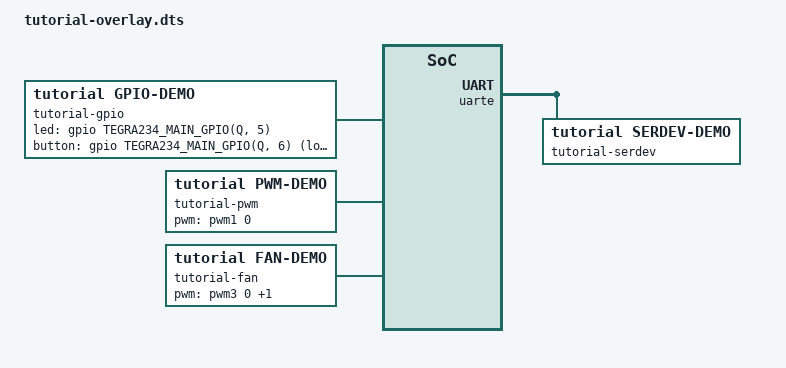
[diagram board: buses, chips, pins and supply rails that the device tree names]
// SPDX-License-Identifier: GPL-2.0
/*
 * jetson-drivers 教程覆盖层（Jetson Orin Nano 开发板 P3768 + P3767-0005）
 *
 * 1. 40 针排针的引脚复用：SPI1（19/21/23/24/26 脚）、PWM（15/32/33 脚）、
 *    GPIO（29 脚输出、31 脚输入）
 * 2. 第 3、4、6、7 章驱动要绑定的设备节点
 *
 * 编译：cpp ... | dtc -@ -I dts -O dtb -o tutorial-overlay.dtbo -   （见 build.sh）
 */
/dts-v1/;
/plugin/;

#include <dt-bindings/gpio/gpio.h>
#include <dt-bindings/gpio/tegra234-gpio.h>
#include <dt-bindings/pinctrl/pinctrl-tegra.h>

/ {
	overlay-name = "jetson-drivers tutorial";
	jetson-header-name = "Jetson 40pin Header";
	compatible = "nvidia,p3768-0000+p3767-0000", "nvidia,p3768-0000+p3767-0001",
		     "nvidia,p3768-0000+p3767-0003", "nvidia,p3768-0000+p3767-0004",
		     "nvidia,p3768-0000+p3767-0005", "nvidia,p3768-0000+p3767-0000-super",
		     "nvidia,p3768-0000+p3767-0001-super", "nvidia,p3768-0000+p3767-0003-super",
		     "nvidia,p3768-0000+p3767-0004-super", "nvidia,p3768-0000+p3767-0005-super";

	/* 1. 引脚复用 */
	fragment@0 {
		target = <&pinmux>;
		__overlay__ {
			pinctrl-names = "default";
			pinctrl-0 = <&tutorial_pins>;

			tutorial_pins: tutorial-pinmux {
				/* GPIO：29 脚 PQ.05 输出，关掉三态才能驱动引脚 */
				hdr40-pin29 {
					nvidia,pins = "soc_gpio32_pq5";
					nvidia,function = "rsvd0";
					nvidia,gpio-mode = <0>;
					nvidia,pull = <TEGRA_PIN_PULL_NONE>;
					nvidia,tristate = <TEGRA_PIN_DISABLE>;
					nvidia,enable-input = <TEGRA_PIN_ENABLE>;
				};
				/* GPIO：31 脚 PQ.06 输入，内部上拉，按键接到 GND */
				hdr40-pin31 {
					nvidia,pins = "soc_gpio33_pq6";
					nvidia,function = "rsvd0";
					nvidia,gpio-mode = <0>;
					nvidia,pull = <TEGRA_PIN_PULL_UP>;
					nvidia,tristate = <TEGRA_PIN_ENABLE>;
					nvidia,enable-input = <TEGRA_PIN_ENABLE>;
				};

				/* PWM：15 脚 PWM1、33 脚 PWM5、32 脚 PWM7（gpio-mode = 1 表示交给外设，不当 GPIO 用） */
				hdr40-pin15 {
					nvidia,pins = "soc_gpio39_pn1";
					nvidia,function = "gp";
					nvidia,gpio-mode = <1>;
					nvidia,tristate = <TEGRA_PIN_DISABLE>;
					nvidia,enable-input = <TEGRA_PIN_DISABLE>;
				};
				hdr40-pin32 {
					nvidia,pins = "soc_gpio19_pg6";
					nvidia,function = "gp";
					nvidia,gpio-mode = <1>;
					nvidia,tristate = <TEGRA_PIN_DISABLE>;
					nvidia,enable-input = <TEGRA_PIN_DISABLE>;
				};
				hdr40-pin33 {
					nvidia,pins = "soc_gpio21_ph0";
					nvidia,function = "gp";
					nvidia,gpio-mode = <1>;
					nvidia,tristate = <TEGRA_PIN_DISABLE>;
					nvidia,enable-input = <TEGRA_PIN_DISABLE>;
				};

				/* SPI1：19 MOSI、21 MISO、23 SCK、24 CS0、26 CS1 */
				hdr40-pin19 {
					nvidia,pins = "spi1_mosi_pz5";
					nvidia,function = "spi1";
					nvidia,gpio-mode = <1>;
					nvidia,tristate = <TEGRA_PIN_DISABLE>;
					nvidia,enable-input = <TEGRA_PIN_ENABLE>;
				};
				hdr40-pin21 {
					nvidia,pins = "spi1_miso_pz4";
					nvidia,function = "spi1";
					nvidia,gpio-mode = <1>;
					nvidia,tristate = <TEGRA_PIN_DISABLE>;
					nvidia,enable-input = <TEGRA_PIN_ENABLE>;
				};
				hdr40-pin23 {
					nvidia,pins = "spi1_sck_pz3";
					nvidia,function = "spi1";
					nvidia,gpio-mode = <1>;
					nvidia,tristate = <TEGRA_PIN_DISABLE>;
					nvidia,enable-input = <TEGRA_PIN_ENABLE>;
				};
				hdr40-pin24 {
					nvidia,pins = "spi1_cs0_pz6";
					nvidia,function = "spi1";
					nvidia,gpio-mode = <1>;
					nvidia,tristate = <TEGRA_PIN_DISABLE>;
					nvidia,enable-input = <TEGRA_PIN_ENABLE>;
				};
				hdr40-pin26 {
					nvidia,pins = "spi1_cs1_pz7";
					nvidia,function = "spi1";
					nvidia,gpio-mode = <1>;
					nvidia,tristate = <TEGRA_PIN_DISABLE>;
					nvidia,enable-input = <TEGRA_PIN_ENABLE>;
				};
			};
		};
	};

	/* 2. 第 3 章：GPIO 驱动节点 */
	fragment@1 {
		target-path = "/";
		__overlay__ {
			tutorial-gpio {
				compatible = "tutorial,gpio-demo";
				led-gpios = <&gpio TEGRA234_MAIN_GPIO(Q, 5) GPIO_ACTIVE_HIGH>;
				button-gpios = <&gpio TEGRA234_MAIN_GPIO(Q, 6) GPIO_ACTIVE_LOW>;
				debounce-ms = <20>;
			};

			/* 第 4 章：排针 15 脚的 PWM1，默认周期 1 ms（1 kHz） */
			tutorial-pwm {
				compatible = "tutorial,pwm-demo";
				pwms = <&pwm1 0 1000000>;
			};

			/* 第 4 章：风扇。用的就是 pwm-fan 节点用的那一路 PWM，所以要先卸载 pwm_fan 模块 */
			tutorial-fan {
				compatible = "tutorial,fan-demo";
				pwms = <&pwm3 0 45334>, <&tach 0 1000000>;
				pwm-names = "fan", "tach";
			};
		};
	};

	/* 转速计节点在基础设备树里没有标签，在这里给它加一个，上面才能引用 */
	fragment@2 {
		target-path = "/bus@0/tachometer@39c0000";
		tach: __overlay__ {
		};
	};

	/* 第 6 章：把 spi@3210000 片选 0 上的 spidev 换成教程驱动；片选 1 仍是 spidev */
	fragment@3 {
		target-path = "/bus@0/spi@3210000/spi@0";
		__overlay__ {
			compatible = "tutorial,spi-demo";
			spi-max-frequency = <10000000>;
		};
	};

	/* 第 7 章：ttyTHS2（uarte）下挂一个 serdev 设备，挂上之后 /dev/ttyTHS2 会消失 */
	fragment@4 {
		target = <&uarte>;
		__overlay__ {
			tutorial-serdev {
				compatible = "tutorial,serdev-demo";
				current-speed = <115200>;
			};
		};
	};
};
